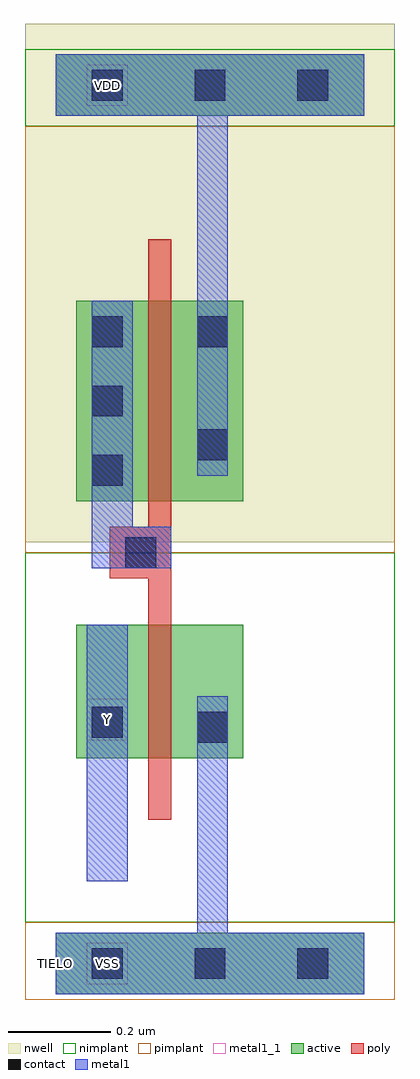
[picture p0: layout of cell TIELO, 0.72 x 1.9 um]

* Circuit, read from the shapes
.subckt TIELO VDD VSS Y
M1 VSS n1 Y VSS nfet w=0.26u l=0.045u
M2 VDD n1 n1 VDD pfet w=0.39u l=0.045u
.ends

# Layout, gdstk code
import gdstk
lib = gdstk.Library(unit=1e-6, precision=5e-10)
def R(c, l, rs):  # rectangles x0, y0, x1, y1
    for r in rs: c.add(gdstk.rectangle(r[:2], r[2:], *l))
def A(c, l, x, y, w, h, nx, ny, dx, dy):  # array of equal rectangles
    R(c, l, [(x+i*dx, y+j*dy, x+i*dx+w, y+j*dy+h) for i in range(nx) for j in range(ny)])
def P(c, l, *ps):  # polygons
    for p in ps: c.add(gdstk.Polygon(p, *l))
active = (1, 0)
nwell = (2, 0)
poly = (3, 0)
nimplant = (4, 0)
pimplant = (5, 0)
contact = (6, 0)
metal1 = (7, 0)
metal1_1 = (7, 1)

tielo = lib.new_cell('TIELO')
R(tielo, active, [(0,-0.06,0.6,0.06), (0.04,0.4,0.365,0.66), (0.04,0.9,0.365,1.29), (0,1.65,0.6,1.77)])
R(tielo, nwell, [(-0.06,0.82,0.66,1.83)])
P(tielo, poly, [(0.18,1.41),(0.225,1.41),(0.225,0.28),(0.18,0.28),(0.18,0.75),(0.105,0.75),(0.105,0.85),(0.18,0.85)])
R(tielo, nimplant, [(-0.06,0.08,0.66,0.8), (-0.06,1.63,0.66,1.78)])
R(tielo, pimplant, [(-0.06,-0.07,0.66,0.08), (-0.06,0.8,0.66,1.63)])
A(tielo, contact, 0.07, -0.03, 0.06, 0.06, 3, 2, 0.2, 1.71)
A(tielo, contact, 0.07, 0.93, 0.06, 0.06, 1, 3, 0, 0.135)
R(tielo, contact, [(0.275,0.43,0.335,0.49), (0.07,0.44,0.13,0.5), (0.135,0.77,0.195,0.83), (0.275,0.98,0.335,1.04), (0.275,1.2,0.335,1.26)])
R(tielo, metal1, [(0.06,0.16,0.14,0.66)])
P(tielo, metal1, [(0,1.77),(0.6,1.77),(0.6,1.65),(0.335,1.65),(0.335,0.95),(0.275,0.95),(0.275,1.65),(0,1.65)],
  [(0.07,1.29),(0.15,1.29),(0.15,0.85),(0.225,0.85),(0.225,0.77),(0.07,0.77)],
  [(0.275,0.52),(0.335,0.52),(0.335,0.06),(0.6,0.06),(0.6,-0.06),(0,-0.06),(0,0.06),(0.275,0.06)])
R(tielo, metal1_1, [(0.06,-0.04,0.14,0.04), (0.06,0.435,0.14,0.515), (0.06,1.67,0.14,1.75)])
tielo.add(gdstk.Label('Y', (0.1,0.475), layer=7, texttype=1))
tielo.add(gdstk.Label('VDD', (0.1,1.71), layer=7, texttype=1))
tielo.add(gdstk.Label('VSS', (0.1,0), layer=7, texttype=1))
tielo.add(gdstk.Label('TIELO', (0,0), layer=63, texttype=0))

lib.write_gds('TIELO.gds')
